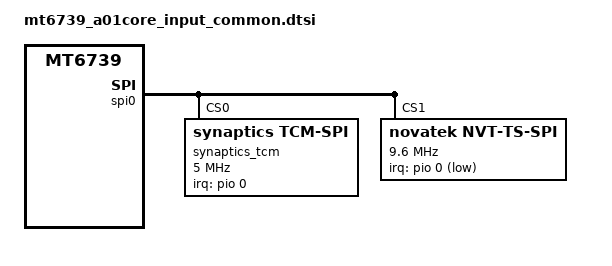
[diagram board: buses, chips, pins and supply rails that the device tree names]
/*
 * Copyright (c) 2012-2013, The Linux Foundation. All rights reserved.
 *
 * This program is free software; you can redistribute it and/or modify
 * it under the terms of the GNU General Public License version 2 and
 * only version 2 as published by the Free Software Foundation.
 *
 * This program is distributed in the hope that it will be useful,
 * but WITHOUT ANY WARRANTY; without even the implied warranty of
 * MERCHANTABILITY or FITNESS FOR A PARTICULAR PURPOSE.  See the
 * GNU General Public License for more details.
 */

&pio {
	ts_pin_init: ts_pin_init {
		pins_cmd_dat {
			pinmux = <PINMUX_GPIO0__FUNC_GPIO0>;
			slew-rate = <0>;
			bias-disable;
		};
	};

	ts_pin_sleep: ts_pin_sleep {
		pins_cmd_dat {
			pinmux = <PINMUX_GPIO0__FUNC_GPIO0>;
			slew-rate = <0>;
			bias-pull-down = <MTK_PUPD_SET_R1R0_01>;
		};
	};

	spi_cs_init: spi_cs_init {
		pins_cmd_dat {
			pinmux = <PINMUX_GPIO31__FUNC_SPI0_A_CSB>;
			bias-disable;
		};
	};

	spi_cs_sleep: spi_cs_sleep {
		pins_cmd_dat {
			pinmux = <PINMUX_GPIO31__FUNC_GPIO31>;
			slew-rate = <0>;
			bias-pull-down;
		};
	};

	spi_clk_init: spi_clk_init {
		pins_cmd_dat {
			pinmux = <PINMUX_GPIO32__FUNC_SPI0_A_CLK>;
			bias-disable;
		};
	};

	spi_clk_sleep: spi_clk_sleep {
		pins_cmd_dat {
			pinmux = <PINMUX_GPIO32__FUNC_GPIO32>;
			slew-rate = <0>;
			bias-pull-down;
		};
	};

	spi_miso_init: spi_miso_init {
		pins_cmd_dat {
			pinmux = <PINMUX_GPIO33__FUNC_SPI0_A_MI>;
			bias-disable;
		};
	};

	spi_miso_sleep: spi_miso_sleep {
		pins_cmd_dat {
			pinmux = <PINMUX_GPIO33__FUNC_GPIO33>;
			slew-rate = <0>;
			bias-pull-down;
		};
	};

	spi_mosi_init: spi_mosi_init {
		pins_cmd_dat {
			pinmux = <PINMUX_GPIO34__FUNC_SPI0_A_MO>;
			bias-disable;
		};
	};

	spi_mosi_sleep: spi_mosi_sleep {
		pins_cmd_dat {
			pinmux = <PINMUX_GPIO34__FUNC_GPIO34>;
			slew-rate = <0>;
			bias-pull-down;
		};
	};
};

&spi0 {
	status = "okay";
	#address-cells = <1>;
	#size-cells = <0>;
	num-cs = <2>;

	synaptics_tcm@0 {
		status = "okay";
		compatible = "synaptics,tcm-spi";
		reg = <0>;
		spi-max-frequency = <5000000>;
		interrupt-parent = <&pio>;
		interrupts = <0 0x2008>;
		pinctrl-names = "on_state", "off_state";
		pinctrl-0 = <&ts_pin_init &spi_cs_init &spi_clk_init &spi_miso_init &spi_mosi_init>;
		pinctrl-1 = <&ts_pin_sleep &spi_cs_sleep &spi_clk_sleep &spi_miso_sleep &spi_mosi_sleep>;
		synaptics,bus-reg-name = "vdd";
		synaptics,pwr-reg-name = "avdd";
		synaptics,irq-gpio = <&pio 0 0x2008>; /* IRQF_ONESHOT | IRQF_TRIGGER_LOW */
		synaptics,irq-on-state = <0>;
		/*synaptics,cs-gpio = <&pio 31 0>;*/
		synaptics,reset-on-state = <0>;
		synaptics,reset-active-ms = <20>;
		synaptics,reset-delay-ms = <200>;
		synaptics,power-delay-ms = <200>;
		synaptics,spi-mode = <0>;
		synaptics,byte-delay-us = <0>;
		synaptics,block-delay-us = <0>;
		synaptics,ubl-max-freq = <5000000>;
		synaptics,ubl-byte-delay-us = <20>;
		synaptics,fw_name = "tsp_synaptics/td4150_a01core.img";
		support_ear_detect_mode;
		/* tp-io reset is only used for specific tddi devices */
		/* synaptics,tpio-reset-gpio = <&msm_gpio 102 0>; */
	};
	
	/* Novatek device tree node */
	novatek@1 {
		status = "okay";
		compatible = "novatek,NVT-ts-spi";
		reg = <1>; //Same as CS ID
		spi-max-frequency = <9600000>;	//4800000,9600000,15000000,19200000
		//novatek,reset-gpio = <&msm_gpio 102 0x00>;
		novatek,irq-gpio = <&pio 0 0x2001>;
		/*novatek,cs-gpio = <&pio 32 0>;*/
		pinctrl-names = "on_state", "off_state";
		pinctrl-0 = <&ts_pin_init &spi_cs_init &spi_clk_init &spi_miso_init &spi_mosi_init>;
		pinctrl-1 = <&ts_pin_sleep &spi_cs_sleep &spi_clk_sleep &spi_miso_sleep &spi_mosi_sleep>;

		/* 525 */
		//novatek,swrst-n8-addr = <0x01F01A>;

		/* 672A, 525B, 675, 526, 672C */
		novatek,swrst-n8-addr = <0x03F0FE>;
		novatek,spi-rd-fast-addr = <0x03F310>;

		/* MP */
		novatek,mp-support-dt;

		support_ear_detect_mode;

		novatek-mp-criteria-720D@0 {
			#address-cells = <1>;
			#size-cells = <0>;
			compatible = "novatek-mp-criteria-720D";
			
			/* sec cmd test config */
			open_test_spec = <(-511) 5120>;
			short_test_spec = <10000 14008>;
			diff_test_frame = <50>;

			/* MP Config */
			IC_X_CFG_SIZE = <18>;
			IC_Y_CFG_SIZE = <32>;
			IC_KEY_CFG_SIZE = <4>;
			X_Channel = <18>;
			Y_Channel = <32>;
			AIN_X = <0 1 2 3 4 5 6 7 8 9 10 11 12 13 14 15 16 17>;
			AIN_Y = <0 1 2 3 4 5 6 7 8 9 10 11 12 13 14 15 16 17
						18 19 20 21 22 23 24 25 26 27 28 29 30 31>;
			AIN_KEY = <0 1 2 0xFF>;
		};
	};
};
